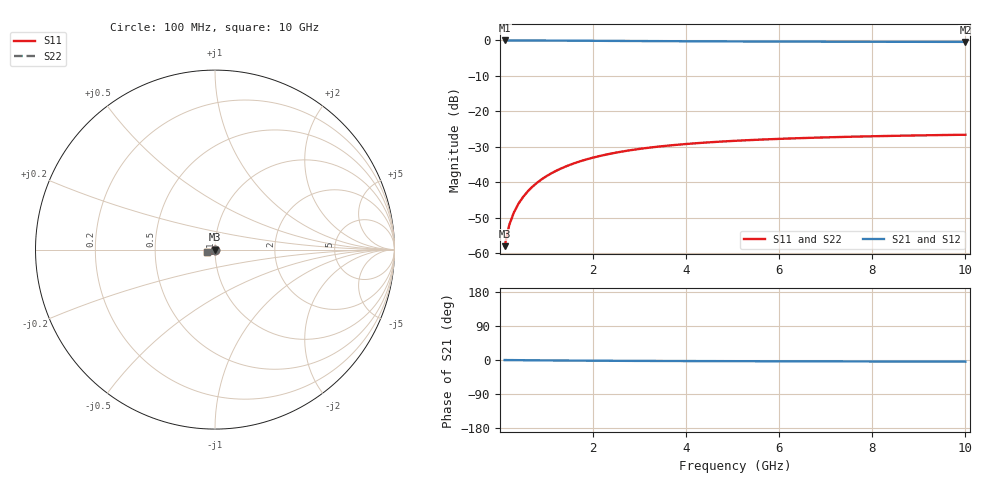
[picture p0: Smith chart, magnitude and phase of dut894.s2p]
! Touchstone file exported from HFSS 2024.1.0
!  File:  C:/UserFiles/LocalFiles/RDL_TSV_Batchsim/temp_TSV1_894_1779885236.aedt
!  Generated:  08:38:53 PM May 27, 2026
!  Design:  TSV1
!  Project:  temp_TSV1_894_1779885236
!  Setup:  Setup1
!  Solution:  Sweep
! Variables:
!  dtsv = 12.19um
!  hbump = 3um
!  htsv = 66.18um
!  lrdl = 252.1521522um
!  p = 40
!  p1 = 44.98um
!  t = 500um
!  trdl = 3um
!  wrdl = 24.89489489um
# GHz S MA R 50.000000
! Terminal data exported
! Port[1] = TSV22_T1
! Port[2] = TSV22_T2
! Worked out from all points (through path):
!   100 points, 100 MHz to 10 GHz, reference 50 ohm
!   highest |S21| = 0.00 dB at 100 MHz (marker M1); lowest = -0.4 dB at 10 GHz (marker M2)
!   lowest |S11| = -57.9 dB at 100 MHz (marker M3), VSWR 1.00, Z = 50 - j0.127 ohm
!   |S11| at or under -10 dB: start of sweep to end of sweep
!   |S22| runs from -57.9 to -26.6 dB; largest |S21 - S12| = 2.4e-15
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0.1  0.001268 -87.6  0.9999 -0.1  0.9999 -0.1  0.001268 -87.6
! Gamma 0 0 0 0
! Port Impedance 50 0 50 0
0.2  0.00253 -91.3  0.9998 -0.2  0.9998 -0.2  0.00253 -91.3
0.3  0.003792 -93.6  0.9996 -0.3  0.9996 -0.3  0.003792 -93.6
0.4  0.005048 -95.5  0.9993 -0.4  0.9993 -0.4  0.005048 -95.5
0.5  0.006294 -97.2  0.999 -0.5  0.999 -0.5  0.006294 -97.2
0.6  0.007528 -98.9  0.9986 -0.6  0.9986 -0.6  0.007528 -98.9
0.7  0.008745 -100.5  0.9982 -0.8  0.9982 -0.8  0.008745 -100.5
0.8  0.009945 -102.1  0.9977 -0.9  0.9977 -0.9  0.009945 -102.1
0.9  0.01112 -103.6  0.9971 -1.0  0.9971 -1.0  0.01112 -103.6
1.1  0.01341 -106.6  0.9959 -1.1  0.9959 -1.1  0.01341 -106.6
1.4  0.01666 -110.8  0.9938 -1.4  0.9938 -1.4  0.01666 -110.8
1.6  0.01868 -113.5  0.9922 -1.6  0.9922 -1.6  0.01868 -113.5
1.8  0.02059 -116.1  0.9906 -1.7  0.9906 -1.7  0.02059 -116.1
2.1  0.02323 -119.7  0.9882 -1.9  0.9882 -1.9  0.02323 -119.7
2.5  0.02636 -124.2  0.985 -2.1  0.985 -2.1  0.02636 -124.2
2.9  0.02908 -128.2  0.9819 -2.3  0.9819 -2.3  0.02908 -128.2
3.4  0.03196 -132.7  0.9783 -2.6  0.9783 -2.6  0.03196 -132.7
4.2  0.03564 -138.7  0.9732 -2.9  0.9732 -2.9  0.03564 -138.7
5.1  0.03875 -144.2  0.9685 -3.1  0.9685 -3.1  0.03875 -144.2
6.7  0.0426 -151.8  0.9622 -3.5  0.9622 -3.5  0.0426 -151.8
8.4  0.04528 -157.9  0.9577 -4.0  0.9577 -4.0  0.04528 -157.9
10  0.04703 -162.5  0.9547 -4.4  0.9547 -4.4  0.04703 -162.4
